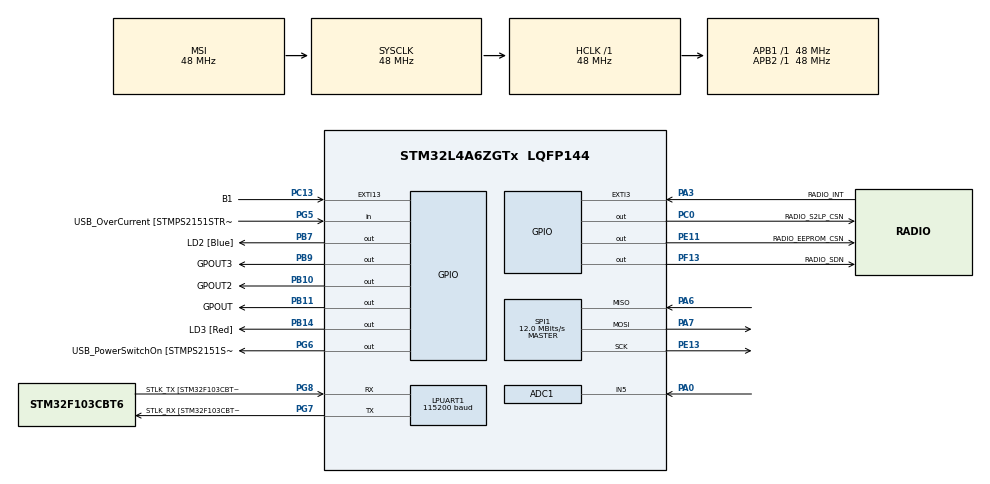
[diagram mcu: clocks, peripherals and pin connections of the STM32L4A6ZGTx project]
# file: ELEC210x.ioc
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ADC1.Channel-0\#ChannelRegularConversion=ADC_CHANNEL_5
ADC1.ClockPrescaler=ADC_CLOCK_ASYNC_DIV1
ADC1.ContinuousConvMode=DISABLE
ADC1.DMAContinuousRequests=ENABLE
ADC1.ExternalTrigConv=ADC_EXTERNALTRIG_T3_TRGO
ADC1.NbrOfConversionFlag=1
ADC1.OffsetNumber-0\#ChannelRegularConversion=ADC_OFFSET_NONE
ADC1.Rank-0\#ChannelRegularConversion=1
ADC1.SamplingTime-0\#ChannelRegularConversion=ADC_SAMPLETIME_2CYCLES_5
ADC1.master=1
Dma.ADC1.0.Direction=DMA_PERIPH_TO_MEMORY
Dma.ADC1.0.Instance=DMA1_Channel1
Dma.ADC1.0.MemDataAlignment=DMA_MDATAALIGN_HALFWORD
Dma.ADC1.0.MemInc=DMA_MINC_ENABLE
Dma.ADC1.0.Mode=DMA_CIRCULAR
Dma.ADC1.0.PeriphDataAlignment=DMA_PDATAALIGN_HALFWORD
Dma.ADC1.0.PeriphInc=DMA_PINC_DISABLE
Dma.ADC1.0.Priority=DMA_PRIORITY_LOW
Dma.Request0=ADC1
LPUART1.AutoBaudRateEnableParam=UART_ADVFEATURE_AUTOBAUDRATE_DISABLE
LPUART1.BaudRate=115200
LPUART1.DMADisableonRxErrorParam=UART_ADVFEATURE_DMA_ENABLEONRXERROR
LPUART1.DataInvertParam=UART_ADVFEATURE_DATAINV_DISABLE
LPUART1.MSBFirstParam=UART_ADVFEATURE_MSBFIRST_DISABLE
LPUART1.Mode=UART_MODE_TX_RX
LPUART1.OneBitSampling=UART_ONE_BIT_SAMPLE_DISABLE
LPUART1.OverrunDisableParam=UART_ADVFEATURE_OVERRUN_ENABLE
LPUART1.Parity=UART_PARITY_NONE
LPUART1.RxPinLevelInvertParam=UART_ADVFEATURE_RXINV_DISABLE
LPUART1.StopBits=UART_STOPBITS_1
LPUART1.SwapParam=UART_ADVFEATURE_SWAP_DISABLE
LPUART1.TxPinLevelInvertParam=UART_ADVFEATURE_TXINV_DISABLE
LPUART1.WordLength=UART_WORDLENGTH_8B
Mcu.Family=STM32L4
Mcu.Name=STM32L4A6ZGTx
Mcu.Package=LQFP144
NVIC.DMA1_Channel1_IRQn=true\:0\:0\:false\:false\:true\:false\:true\:true
NVIC.EXTI15_10_IRQn=true\:0\:0\:false\:false\:true\:true\:true\:true
NVIC.EXTI3_IRQn=true\:0\:0\:false\:false\:true\:true\:true\:true
NVIC.PriorityGroup=NVIC_PRIORITYGROUP_4
PA0.Signal=ADCx_IN5
PA13\ (JTMS/SWDIO).GPIO_Label=TMS
PA13\ (JTMS/SWDIO).Mode=Trace_Asynchronous_SW
PA13\ (JTMS/SWDIO).Signal=SYS_JTMS-SWDIO
PA14\ (JTCK/SWCLK).GPIO_Label=TCK
PA14\ (JTCK/SWCLK).Mode=Trace_Asynchronous_SW
PA14\ (JTCK/SWCLK).Signal=SYS_JTCK-SWCLK
PA3.GPIO_Label=RADIO_INT
PA3.GPIO_ModeDefaultEXTI=GPIO_MODE_IT_FALLING
PA3.Signal=GPXTI3
PA6.Mode=Full_Duplex_Master
PA6.Signal=SPI1_MISO
PA7.Mode=Full_Duplex_Master
PA7.Signal=SPI1_MOSI
PB10.GPIO_Label=GPOUT2
PB10.Signal=GPIO_Output
PB11.GPIO_Label=GPOUT
PB11.Signal=GPIO_Output
PB14.GPIO_Label=LD3 [Red]
PB14.Signal=GPIO_Output
PB3\ (JTDO/TRACESWO).GPIO_Label=SWO
PB3\ (JTDO/TRACESWO).Mode=Trace_Asynchronous_SW
PB3\ (JTDO/TRACESWO).Signal=SYS_JTDO-SWO
PB7.GPIO_Label=LD2 [Blue]
PB7.Signal=GPIO_Output
PB9.GPIO_Label=GPOUT3
PB9.Signal=GPIO_Output
PC0.GPIO_Label=RADIO_S2LP_CSN
PC0.GPIO_Speed=GPIO_SPEED_FREQ_VERY_HIGH
PC0.PinState=GPIO_PIN_SET
PC0.Signal=GPIO_Output
PC13.GPIO_Label=B1
PC13.GPIO_ModeDefaultEXTI=GPIO_MODE_IT_RISING
PC13.Signal=GPXTI13
PC14-OSC32_IN\ (PC14).Mode=LSE-External-Oscillator
PC14-OSC32_IN\ (PC14).Signal=RCC_OSC32_IN
PC15-OSC32_OUT\ (PC15).Mode=LSE-External-Oscillator
PC15-OSC32_OUT\ (PC15).Signal=RCC_OSC32_OUT
PE11.GPIO_Label=RADIO_EEPROM_CSN
PE11.PinState=GPIO_PIN_SET
PE11.Signal=GPIO_Output
PE13.Mode=Full_Duplex_Master
PE13.Signal=SPI1_SCK
PF13.GPIO_Label=RADIO_SDN
PF13.PinState=GPIO_PIN_SET
PF13.Signal=GPIO_Output
PG5.GPIO_Label=USB_OverCurrent [STMPS2151STR_FAULT]
PG5.Signal=GPIO_Input
PG6.GPIO_Label=USB_PowerSwitchOn [STMPS2151STR_EN]
PG6.Signal=GPIO_Output
PG7.GPIO_Label=STLK_RX [STM32F103CBT6_PA3]
PG7.Mode=Asynchronous
PG7.Signal=LPUART1_TX
PG8.GPIO_Label=STLK_TX [STM32F103CBT6_PA2]
PG8.Mode=Asynchronous
PG8.Signal=LPUART1_RX
ProjectManager.HeapSize=0x200
ProjectManager.StackSize=0x400
ProjectManager.TargetToolchain=STM32CubeIDE
RCC.ADCCLockSelection=RCC_ADCCLKSOURCE_SYSCLK
RCC.ADCFreq_Value=48000000
RCC.AHBFreq_Value=48000000
RCC.APB1Freq_Value=48000000
RCC.APB1TimFreq_Value=48000000
RCC.APB2Freq_Value=48000000
RCC.APB2TimFreq_Value=48000000
RCC.CortexFreq_Value=48000000
RCC.FLatency=FLASH_LATENCY_2
RCC.HCLKFreq_Value=48000000
RCC.HSE_VALUE=8000000
RCC.HSI48_VALUE=48000000
RCC.HSI_VALUE=16000000
RCC.LPUART1CLockSelection=RCC_LPUART1CLKSOURCE_SYSCLK
RCC.MSIClockRange=RCC_MSIRANGE_11
RCC.MSI_VALUE=48000000
RCC.PLLN=24
RCC.PLLSAI1N=24
RCC.SYSCLKFreq_VALUE=48000000
RCC.USBFreq_Value=576000000
RCC.VCOOutputFreq_Value=1152000000
SH.ADCx_IN5.0=ADC1_IN5,IN5-Single-Ended
SPI1.BaudRatePrescaler=SPI_BAUDRATEPRESCALER_4
SPI1.CalculateBaudRate=12.0 MBits/s
SPI1.DataSize=SPI_DATASIZE_8BIT
SPI1.Direction=SPI_DIRECTION_2LINES
SPI1.Mode=SPI_MODE_MASTER
SPI1.VirtualType=VM_MASTER
TIM3.Period=99
TIM3.Prescaler=47
TIM3.TIM_MasterOutputTrigger=TIM_TRGO_UPDATE
VP_TIM3_VS_ClockSourceINT.Mode=Internal
board=NUCLEO-L4A6ZG

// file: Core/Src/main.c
/* USER CODE BEGIN Header */
/**
 ******************************************************************************
 * @file           : main.c
 * @brief          : Main program body
 ******************************************************************************
 * @attention
 *
 * Copyright (c) 2026 STMicroelectronics.
 * All rights reserved.
 *
 * This software is licensed under terms that can be found in the LICENSE file
 * in the root directory of this software component.
 * If no LICENSE file comes with this software, it is provided AS-IS.
 *
 ******************************************************************************
 */
/* USER CODE END Header */
#include "main.h"
#include "adc.h"
#include "dma.h"
#include "spi.h"
#include "tim.h"
#include "gpio.h"

/* USER CODE BEGIN Includes */
#include "config.h"
#include "arm_math.h"
#include "usart.h"
#include "utils.h"
#include "s2lp.h"
#include "acquisition.h"
#include "computation.h"
#include "transfer.h"
#include "eval_radio.h"
/* USER CODE END Includes */

/* USER CODE BEGIN PV */
// From acquisition
extern volatile uint16_t *samples_buf_to_process;
extern volatile uint8_t is_processing;
// From computation
extern q15_t mel_vectors[N_MELVECS][MELVEC_LENGTH];
extern volatile uint8_t cur_melvec;
// From transfer
extern uint8_t packet[PACKET_LENGTH];
/* USER CODE END PV */

void SystemClock_Config(void);
/* USER CODE BEGIN PFP */
static void print_featvec_hex(q15_t mel_vectors[][MELVEC_LENGTH])
{
    q15_t vmax; uint32_t idx;
    arm_max_q15(&mel_vectors[0][0], N_MELVECS * MELVEC_LENGTH, &vmax, &idx);
    if (vmax <= 0) vmax = 1;

    printf("DF:HEX:0000000000000000");
    for (int j = 0; j < N_MELVECS; j++)
        for (int i = 0; i < MELVEC_LENGTH; i++) {
            q15_t m = mel_vectors[j][i] > 0 ? mel_vectors[j][i] : 0;
            uint16_t v = (uint16_t)(((uint32_t) m * 0xFFFF) / vmax);
            printf("%02x%02x", v & 0xFF, v >> 8);
        }
    printf("00000000000000000000000000000000\r\n");
}

/* USER CODE END PFP */

/* USER CODE BEGIN 0 */

/*
 * @brief Manages external interrupts : user button and S2LP radio.
 * @note This overrides the __weak__ function in stm32l4xx_hal_gpio.c to provide an user implementation.
 */
void HAL_GPIO_EXTI_Callback(uint16_t GPIO_Pin)
{
	if (GPIO_Pin == B1_Pin) { // User button
		if (acquisition_start()) {
			printf("Acquisition not started, already running\r\n");
			}
	else {
		printf("Acquisition started\r\n");
		}
	}
	else if (GPIO_Pin == RADIO_INT_Pin) { // S2LP radio, will be used in P2d
	S2LP_IRQ_Handler();
	}

}
/* USER CODE END 0 */

int main(void)
{

  /* MCU Configuration--------------------------------------------------------*/

  /* Reset of all peripherals, Initializes the Flash interface and the Systick. */
  HAL_Init();

  /* Configure the system clock */
  SystemClock_Config();

  /* Initialize all configured peripherals */
  MX_GPIO_Init();
  MX_DMA_Init();
  MX_SPI1_Init();
  MX_ADC1_Init();
  MX_TIM3_Init();
  /* USER CODE BEGIN 2 */
#if DEBUGP
	MX_LPUART1_UART_Init();
	DEBUG_PRINT("Hello :)\r\n");
#endif
#if ENABLE_RADIO
  HAL_StatusTypeDef err = S2LP_Init(&hspi1);
  if (err)  {
	  DEBUG_PRINT("[S2LP] Error while initializing: %u\r\n", err);
	  Error_Handler();
  } else {
	  DEBUG_PRINT("[S2LP] Init OK\r\n");
  }
#endif
#if (RUN_CONFIG == EVAL_RADIO)
  eval_radio_start();
#else // MAIN_APP
  DEBUG_PRINT("Press the blue button to start acquisition.\r\n");
  /* USER CODE END 2 */

  /* Infinite loop */
  /* USER CODE BEGIN WHILE */

  while (1)
  {
      if (is_processing) {
          HAL_GPIO_WritePin(GPOUT_GPIO_Port, GPOUT_Pin, GPIO_PIN_SET); // feature vector complet
          melvec_compute((q15_t *) samples_buf_to_process, mel_vectors[cur_melvec]);
          HAL_GPIO_WritePin(GPOUT_GPIO_Port, GPOUT_Pin, GPIO_PIN_RESET); // feature vector complete

          cur_melvec++;
          is_processing = 0;

          if (cur_melvec == N_MELVECS) {

              acquisition_stop();
              // feature vector complete
              cur_melvec = 0;
              //print_melvectors(mel_vectors, N_MELVECS);
              //print_featvec_hex(mel_vectors);     // for the uart-reader MEL window

              HAL_GPIO_WritePin(GPOUT_GPIO_Port, GPOUT_Pin, GPIO_PIN_SET);
              make_packet();
              HAL_GPIO_WritePin(GPOUT_GPIO_Port, GPOUT_Pin, GPIO_PIN_RESET);

              HAL_GPIO_WritePin(GPOUT_GPIO_Port, GPOUT_Pin, GPIO_PIN_SET);
              send_packet();
              HAL_GPIO_WritePin(GPOUT_GPIO_Port, GPOUT_Pin, GPIO_PIN_RESET); // feature vector complete

  #if CONTINUOUS_ACQ
              acquisition_start();
  #endif
          }
      }
      __WFI();

    /* USER CODE END WHILE */

    /* USER CODE BEGIN 3 */
  }
#endif // RUN_CONFIG == EVAL_RADIO
  /* USER CODE END 3 */
}

void SystemClock_Config(void)
{
  RCC_OscInitTypeDef RCC_OscInitStruct = {0};
  RCC_ClkInitTypeDef RCC_ClkInitStruct = {0};

  /** Configure the main internal regulator output voltage
  */
  if (HAL_PWREx_ControlVoltageScaling(PWR_REGULATOR_VOLTAGE_SCALE1) != HAL_OK)
  {
    Error_Handler();
  }

  /** Initializes the RCC Oscillators according to the specified parameters
  * in the RCC_OscInitTypeDef structure.
  */
  RCC_OscInitStruct.OscillatorType = RCC_OSCILLATORTYPE_MSI;
  RCC_OscInitStruct.MSIState = RCC_MSI_ON;
  RCC_OscInitStruct.MSICalibrationValue = 0;
  RCC_OscInitStruct.MSIClockRange = RCC_MSIRANGE_11;
  RCC_OscInitStruct.PLL.PLLState = RCC_PLL_NONE;
  if (HAL_RCC_OscConfig(&RCC_OscInitStruct) != HAL_OK)
  {
    Error_Handler();
  }

  /** Initializes the CPU, AHB and APB buses clocks
  */
  RCC_ClkInitStruct.ClockType = RCC_CLOCKTYPE_HCLK|RCC_CLOCKTYPE_SYSCLK
                              |RCC_CLOCKTYPE_PCLK1|RCC_CLOCKTYPE_PCLK2;
  RCC_ClkInitStruct.SYSCLKSource = RCC_SYSCLKSOURCE_MSI;
  RCC_ClkInitStruct.AHBCLKDivider = RCC_SYSCLK_DIV1;
  RCC_ClkInitStruct.APB1CLKDivider = RCC_HCLK_DIV1;
  RCC_ClkInitStruct.APB2CLKDivider = RCC_HCLK_DIV1;

  if (HAL_RCC_ClockConfig(&RCC_ClkInitStruct, FLASH_LATENCY_2) != HAL_OK)
  {
    Error_Handler();
  }
}

void Error_Handler(void)
{
  /* USER CODE BEGIN Error_Handler_Debug */
	__disable_irq();
	DEBUG_PRINT("Entering error Handler\r\n");
	while (1)
	{
		// Blink LED3 (red)
		HAL_GPIO_WritePin(GPIOB, LD3_Pin, GPIO_PIN_SET);
		for (volatile int i=0; i < SystemCoreClock/200; i++);
		HAL_GPIO_WritePin(GPIOB, LD3_Pin, GPIO_PIN_RESET);
		for (volatile int i=0; i < SystemCoreClock/200; i++);
	}
  /* USER CODE END Error_Handler_Debug */
}
